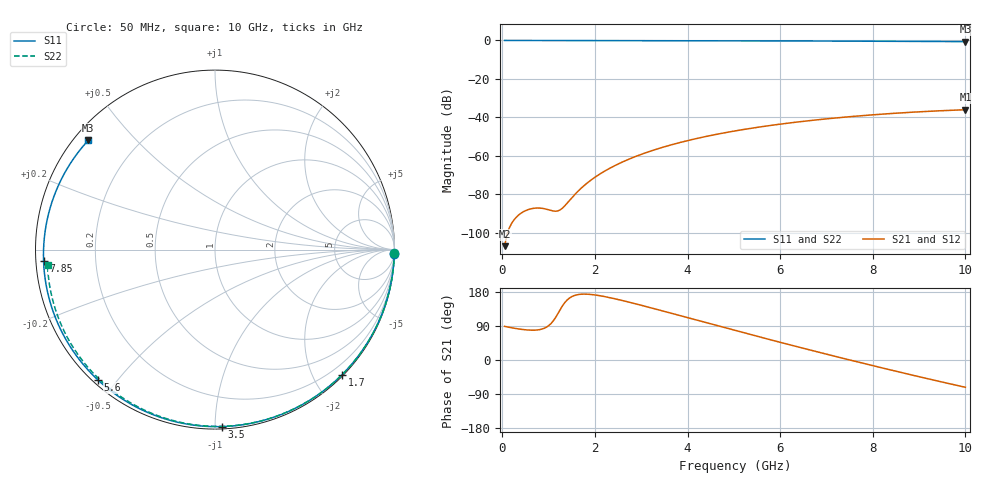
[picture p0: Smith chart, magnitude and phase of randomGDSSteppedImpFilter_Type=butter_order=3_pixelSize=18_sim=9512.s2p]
! freq	dB(S11)	phase(S11)	dB(S12)	phase(S12)
!  dB(S21)	phase(S21)	dB(S22)	phase(S22)
!S-par simulation data
#  GHz  S  DB  R 50
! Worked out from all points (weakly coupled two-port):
!   200 points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, 50 MHz to 10 GHz, reference 50 ohm
!   highest |S21| = -36.02 dB at 10 GHz (marker M1); lowest = -106.9 dB at 50 MHz (marker M2)
!   lowest |S11| = -0.6 dB at 10 GHz (marker M3), VSWR 28.56, Z = 1.99 + j18.5 ohm
!   |S11| at or under -10 dB: nowhere
!   |S22| runs from -0.6 to 0.0 dB; largest |S21 - S12| = 0
!   S11 on the Smith chart (normalised r, x): 50 MHz: 1, -88; 1.7 GHz: 0.02, -2.44; 3.5 GHz: 0.01, -1.04; 5.6 GHz: 0.01, -0.45; 7.85 GHz: 0.02, -0.03; 10 GHz: 0.04, +0.37
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0.05  -0.00 -1.3  -106.95 88.7  -106.95 88.7  -0.00 -1.0
0.75  -0.03 -20.0  -87.11 79.2  -87.11 79.2  -0.02 -15.3
1.15  -0.04 -30.5  -88.79 112.0  -88.79 112.0  -0.03 -23.4
1.55  -0.05 -40.8  -80.49 169.8  -80.49 169.8  -0.04 -31.4
1.6  -0.05 -42.1  -79.22 171.7  -79.22 171.7  -0.04 -32.3
1.7  -0.06 -44.6  -76.87 173.6  -76.87 173.6  -0.04 -34.3
1.75  -0.06 -45.9  -75.79 173.9  -75.79 173.9  -0.05 -35.3
2.05  -0.07 -53.4  -70.32 170.8  -70.32 170.8  -0.05 -41.2
2.45  -0.08 -63.2  -64.83 161.1  -64.83 161.1  -0.06 -48.9
2.9  -0.09 -73.9  -60.12 147.6  -60.12 147.6  -0.07 -57.4
3.4  -0.11 -85.4  -56.00 131.5  -56.00 131.5  -0.09 -66.7
3.5  -0.11 -87.7  -55.28 128.2  -55.28 128.2  -0.09 -68.5
4.25  -0.14 -104.1  -50.68 103.5  -50.68 103.5  -0.12 -81.9
5.05  -0.18 -120.8  -46.93 77.2  -46.93 77.2  -0.15 -95.6
5.6  -0.21 -131.9  -44.84 59.4  -44.84 59.4  -0.17 -104.8
6.15  -0.24 -142.8  -43.05 41.9  -43.05 41.9  -0.20 -113.7
6.7  -0.28 -153.6  -41.51 24.7  -41.51 24.7  -0.24 -122.5
7.3  -0.33 -165.3  -40.07 6.2  -40.07 6.2  -0.28 -132.0
7.85  -0.38 -176.1  -38.94 -10.4  -38.94 -10.4  -0.33 -140.6
8.35  -0.43 174.0  -38.06 -25.2  -38.06 -25.2  -0.38 -148.5
9.2  -0.52 156.5  -36.85 -49.8  -36.85 -49.8  -0.47 -161.9
10  -0.61 139.3  -36.02 -72.0  -36.02 -72.0  -0.57 -174.9
